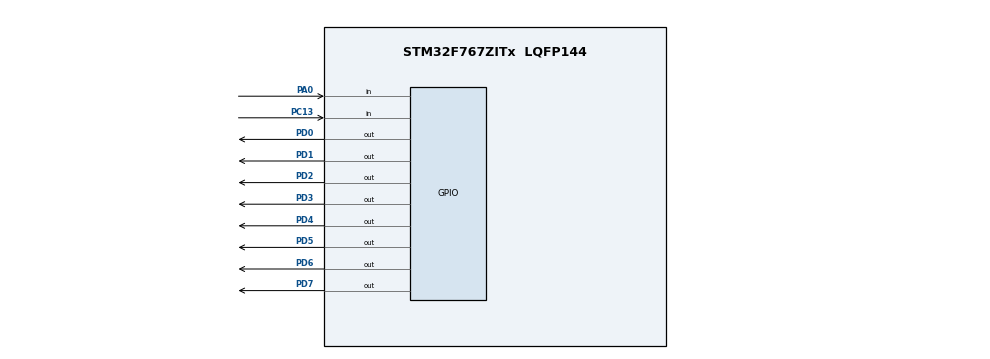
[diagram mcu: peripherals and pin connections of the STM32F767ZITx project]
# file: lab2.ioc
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Mcu.Family=STM32F7
Mcu.Name=STM32F767ZITx
Mcu.Package=LQFP144
NVIC.PriorityGroup=NVIC_PRIORITYGROUP_4
PA0/WKUP.Signal=GPIO_Input
PC13.Signal=GPIO_Input
PD0.Signal=GPIO_Output
PD1.Signal=GPIO_Output
PD2.Signal=GPIO_Output
PD3.Signal=GPIO_Output
PD4.Signal=GPIO_Output
PD5.Signal=GPIO_Output
PD6.Signal=GPIO_Output
PD7.Signal=GPIO_Output
ProjectManager.HeapSize=0x200
ProjectManager.StackSize=0x400
ProjectManager.TargetToolchain=STM32CubeIDE
RCC.HSE_VALUE=25000000
RCC.HSI_VALUE=16000000
RCC.LSE_VALUE=32768
RCC.USBFreq_Value=96000000
RCC.VCOOutputFreq_Value=192000000
board=custom

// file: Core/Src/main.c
/* USER CODE BEGIN Header */
/**
  ******************************************************************************
  * @file           : main.c
  * @brief          : Main program body
  ******************************************************************************
  * @attention
  *
  * Copyright (c) 2023 STMicroelectronics.
  * All rights reserved.
  *
  * This software is licensed under terms that can be found in the LICENSE file
  * in the root directory of this software component.
  * If no LICENSE file comes with this software, it is provided AS-IS.
  *
  ******************************************************************************
  */
/* USER CODE END Header */
#include "main.h"

void SystemClock_Config(void);
static void MPU_Initialize(void);
static void MPU_Config(void);
static void MX_GPIO_Init(void);

/* USER CODE BEGIN 0 */
int led=0;
int count=0;
void lab_2_2()
{
	if(HAL_GPIO_ReadPin(GPIOA,GPIO_PIN_0)==GPIO_PIN_RESET)
	{
		  HAL_GPIO_WritePin(GPIOC,GPIO_PIN_8,GPIO_PIN_SET);
		  led=1;
		  HAL_Delay(1000);
		  HAL_GPIO_WritePin(GPIOC,GPIO_PIN_8,GPIO_PIN_RESET);
		  led=0;
	}
}
void lab_2_4()
{
	if(HAL_GPIO_ReadPin(GPIOC,GPIO_PIN_13)==GPIO_PIN_SET)
	{
			count++;
			if(count==9)
				count=1;
			HAL_GPIO_WritePin(GPIOD,GPIO_PIN_0|GPIO_PIN_1|GPIO_PIN_2|GPIO_PIN_3|GPIO_PIN_4|GPIO_PIN_5|GPIO_PIN_6|GPIO_PIN_7,GPIO_PIN_RESET);
				if(count==1)
					HAL_GPIO_WritePin(GPIOD,GPIO_PIN_0,GPIO_PIN_SET);
				else if(count==2)
					HAL_GPIO_WritePin(GPIOD,GPIO_PIN_1,GPIO_PIN_SET);
				else if(count==3)
					HAL_GPIO_WritePin(GPIOD,GPIO_PIN_2,GPIO_PIN_SET);
				else if(count==4)
					HAL_GPIO_WritePin(GPIOD,GPIO_PIN_3,GPIO_PIN_SET);
				else if(count==5)
					HAL_GPIO_WritePin(GPIOD,GPIO_PIN_4,GPIO_PIN_SET);
				else if(count==6)
					HAL_GPIO_WritePin(GPIOD,GPIO_PIN_5,GPIO_PIN_SET);
				else if(count==7)
					HAL_GPIO_WritePin(GPIOD,GPIO_PIN_6,GPIO_PIN_SET);
				else if(count==8)
					HAL_GPIO_WritePin(GPIOD,GPIO_PIN_7,GPIO_PIN_SET);
			HAL_Delay(500);
	}
	if(HAL_GPIO_ReadPin(GPIOA,GPIO_PIN_0)==GPIO_PIN_RESET)
	{
		if(count==0)
			count=9;
		for(int i=0;i<8;i++)
		{
			HAL_GPIO_WritePin(GPIOD,GPIO_PIN_0|GPIO_PIN_1|GPIO_PIN_2|GPIO_PIN_3|GPIO_PIN_4|GPIO_PIN_5|GPIO_PIN_6|GPIO_PIN_7,GPIO_PIN_RESET);
			HAL_Delay(500);
			count--;
			if(count==0)
				count=8;
			if(count==1)
				HAL_GPIO_WritePin(GPIOD,GPIO_PIN_0,GPIO_PIN_SET);
			else if(count==2)
				HAL_GPIO_WritePin(GPIOD,GPIO_PIN_1,GPIO_PIN_SET);
			else if(count==3)
				HAL_GPIO_WritePin(GPIOD,GPIO_PIN_2,GPIO_PIN_SET);
			else if(count==4)
				HAL_GPIO_WritePin(GPIOD,GPIO_PIN_3,GPIO_PIN_SET);
			else if(count==5)
				HAL_GPIO_WritePin(GPIOD,GPIO_PIN_4,GPIO_PIN_SET);
			else if(count==6)
				HAL_GPIO_WritePin(GPIOD,GPIO_PIN_5,GPIO_PIN_SET);
			else if(count==7)
				HAL_GPIO_WritePin(GPIOD,GPIO_PIN_6,GPIO_PIN_SET);
			else if(count==8)
				HAL_GPIO_WritePin(GPIOD,GPIO_PIN_7,GPIO_PIN_SET);
			HAL_Delay(500);
		}

	}

}
/* USER CODE END 0 */

int main(void)
{

  /* MCU Configuration--------------------------------------------------------*/

  /* Reset of all peripherals, Initializes the Flash interface and the Systick. */
  HAL_Init();

  /* MPU Configuration--------------------------------------------------------*/
  MPU_Config();

  /* Configure the system clock */
  SystemClock_Config();

  /* Initialize all configured peripherals */
  MX_GPIO_Init();

  /* Infinite loop */
  while (1)
  {
	  lab_2_4();
  }
}

void SystemClock_Config(void)
{
  RCC_OscInitTypeDef RCC_OscInitStruct = {0};
  RCC_ClkInitTypeDef RCC_ClkInitStruct = {0};

  /** Configure the main internal regulator output voltage
  */
  __HAL_RCC_PWR_CLK_ENABLE();
  __HAL_PWR_VOLTAGESCALING_CONFIG(PWR_REGULATOR_VOLTAGE_SCALE3);

  /** Initializes the RCC Oscillators according to the specified parameters
  * in the RCC_OscInitTypeDef structure.
  */
  RCC_OscInitStruct.OscillatorType = RCC_OSCILLATORTYPE_HSI;
  RCC_OscInitStruct.HSIState = RCC_HSI_ON;
  RCC_OscInitStruct.HSICalibrationValue = RCC_HSICALIBRATION_DEFAULT;
  RCC_OscInitStruct.PLL.PLLState = RCC_PLL_NONE;
  if (HAL_RCC_OscConfig(&RCC_OscInitStruct) != HAL_OK)
  {
    Error_Handler();
  }

  /** Initializes the CPU, AHB and APB buses clocks
  */
  RCC_ClkInitStruct.ClockType = RCC_CLOCKTYPE_HCLK|RCC_CLOCKTYPE_SYSCLK
                              |RCC_CLOCKTYPE_PCLK1|RCC_CLOCKTYPE_PCLK2;
  RCC_ClkInitStruct.SYSCLKSource = RCC_SYSCLKSOURCE_HSI;
  RCC_ClkInitStruct.AHBCLKDivider = RCC_SYSCLK_DIV1;
  RCC_ClkInitStruct.APB1CLKDivider = RCC_HCLK_DIV1;
  RCC_ClkInitStruct.APB2CLKDivider = RCC_HCLK_DIV1;

  if (HAL_RCC_ClockConfig(&RCC_ClkInitStruct, FLASH_LATENCY_0) != HAL_OK)
  {
    Error_Handler();
  }
}

static void MX_GPIO_Init(void)
{
  GPIO_InitTypeDef GPIO_InitStruct = {0};

  /* GPIO Ports Clock Enable */
  __HAL_RCC_GPIOC_CLK_ENABLE();
  __HAL_RCC_GPIOA_CLK_ENABLE();
  __HAL_RCC_GPIOD_CLK_ENABLE();

  /*Configure GPIO pin Output Level */
  HAL_GPIO_WritePin(GPIOD, GPIO_PIN_0|GPIO_PIN_1|GPIO_PIN_2|GPIO_PIN_3
                          |GPIO_PIN_4|GPIO_PIN_5|GPIO_PIN_6|GPIO_PIN_7, GPIO_PIN_RESET);

  /*Configure GPIO pin : PC13 */
  GPIO_InitStruct.Pin = GPIO_PIN_13;
  GPIO_InitStruct.Mode = GPIO_MODE_INPUT;
  GPIO_InitStruct.Pull = GPIO_NOPULL;
  HAL_GPIO_Init(GPIOC, &GPIO_InitStruct);

  /*Configure GPIO pin : PA0 */
  GPIO_InitStruct.Pin = GPIO_PIN_0;
  GPIO_InitStruct.Mode = GPIO_MODE_INPUT;
  GPIO_InitStruct.Pull = GPIO_NOPULL;
  HAL_GPIO_Init(GPIOA, &GPIO_InitStruct);

  /*Configure GPIO pins : PD0 PD1 PD2 PD3
                           PD4 PD5 PD6 PD7 */
  GPIO_InitStruct.Pin = GPIO_PIN_0|GPIO_PIN_1|GPIO_PIN_2|GPIO_PIN_3
                          |GPIO_PIN_4|GPIO_PIN_5|GPIO_PIN_6|GPIO_PIN_7;
  GPIO_InitStruct.Mode = GPIO_MODE_OUTPUT_PP;
  GPIO_InitStruct.Pull = GPIO_NOPULL;
  GPIO_InitStruct.Speed = GPIO_SPEED_FREQ_LOW;
  HAL_GPIO_Init(GPIOD, &GPIO_InitStruct);

}

/* MPU Configuration */

void MPU_Config(void)
{
  MPU_Region_InitTypeDef MPU_InitStruct = {0};

  /* Disables the MPU */
  HAL_MPU_Disable();

  /** Initializes and configures the Region and the memory to be protected
  */
  MPU_InitStruct.Enable = MPU_REGION_ENABLE;
  MPU_InitStruct.Number = MPU_REGION_NUMBER0;
  MPU_InitStruct.BaseAddress = 0x0;
  MPU_InitStruct.Size = MPU_REGION_SIZE_4GB;
  MPU_InitStruct.SubRegionDisable = 0x87;
  MPU_InitStruct.TypeExtField = MPU_TEX_LEVEL0;
  MPU_InitStruct.AccessPermission = MPU_REGION_NO_ACCESS;
  MPU_InitStruct.DisableExec = MPU_INSTRUCTION_ACCESS_DISABLE;
  MPU_InitStruct.IsShareable = MPU_ACCESS_SHAREABLE;
  MPU_InitStruct.IsCacheable = MPU_ACCESS_NOT_CACHEABLE;
  MPU_InitStruct.IsBufferable = MPU_ACCESS_NOT_BUFFERABLE;

  HAL_MPU_ConfigRegion(&MPU_InitStruct);
  /* Enables the MPU */
  HAL_MPU_Enable(MPU_PRIVILEGED_DEFAULT);

}

void Error_Handler(void)
{
  __disable_irq();
  while (1)
  {
  }
}
